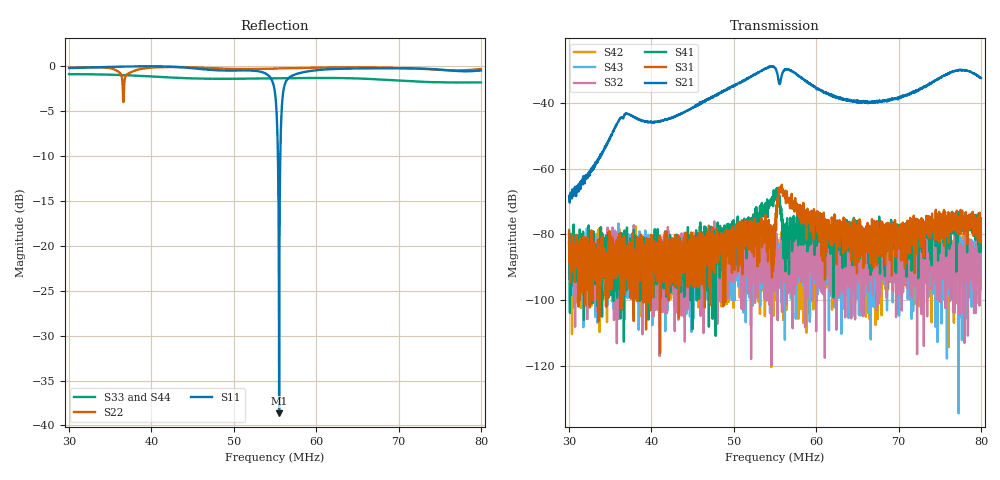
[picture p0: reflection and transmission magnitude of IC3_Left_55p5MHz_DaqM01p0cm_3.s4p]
#  HZ  S  DB  R  50.00
! Rohde & Schwarz Vector Network Analyzer
! Rohde-Schwarz,ZNB8-4Port,1311601044102961,2.82
! Created: UTC 2/13/2019, 8:46:17 AM
! freq[Hz]  db:S11  ang:S11  db:S12  ang:S12  db:S13  ang:S13  db:S14  ang:S14
!  db:S21  ang:S21  db:S22  ang:S22  db:S23  ang:S23  db:S24  ang:S24
!  db:S31  ang:S31  db:S32  ang:S32  db:S33  ang:S33  db:S34  ang:S34
!  db:S41  ang:S41  db:S42  ang:S42  db:S43  ang:S43  db:S44  ang:S44
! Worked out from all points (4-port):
!   2001 points, 30 MHz to 80 MHz, reference 50 ohm
!   strongest paths, dB at 30 MHz, 42.5 MHz, 55 MHz, 67.5 MHz, 80 MHz:
!     S21: -68.5, -44.5, -29.3, -39.8, -32.4
!     S31: -78.9, -81.2, -77.7, -81.5, -77.3
!     S41: -82.7, -87.8, -68.0, -87.5, -78.7
!     S32: -82.2, -86.6, -88.4, -89.5, -84.3
!     S43: -78.6, -90.9, -92.2, -86.0, -88.7
!     S42: -82.2, -89.9, -98.4, -87.3, -79.6
!   lowest |S11| = -38.6 dB at 55.5 MHz (marker M1), VSWR 1.02, Z = 50.9 + j0.795 ohm
!   |S11| at or under -10 dB: 55.35 MHz to 55.64 MHz (292.6 kHz wide, 0.527 % of centre)
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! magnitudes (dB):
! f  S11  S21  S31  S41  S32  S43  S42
! 30 MHz  -0.2  -68.5  -78.9  -82.7  -82.2  -78.6  -82.2
! 36.9 MHz  -0.1  -43.2  -87.1  -95.9  -84.1  -93.0  -92.4
! 54.12 MHz  -1.0  -29.3  -76.8  -74.7  -91.5  -93.2  -92.5
! 55.5 MHz  -38.6  -34.0  -67.5  -68.1  -87.3  -91.6  -88.1
! 56.92 MHz  -1.2  -30.2  -69.8  -78.4  -85.6  -99.5  -87.2
! 65.9 MHz  -0.3  -40.0  -86.6  -83.3  -86.1  -87.3  -83.5
! 80 MHz  -0.5  -32.4  -77.3  -78.7  -84.3  -88.7  -79.6
